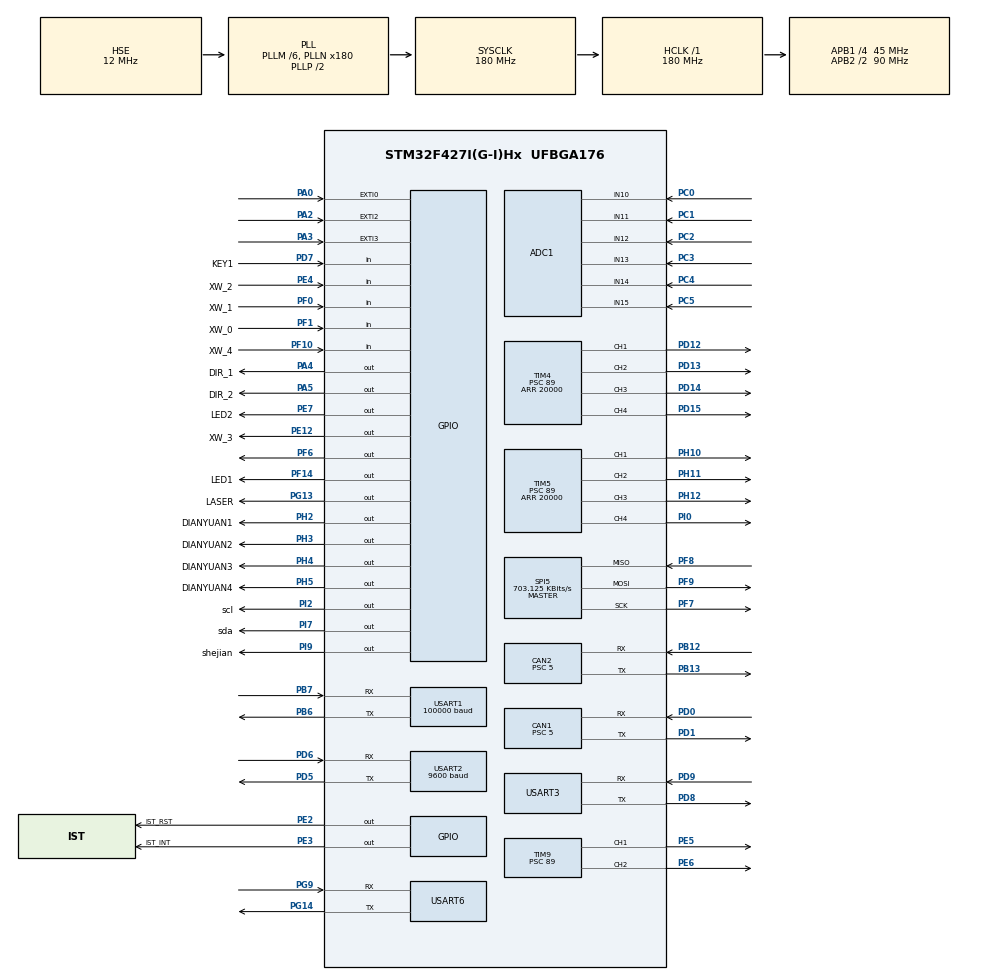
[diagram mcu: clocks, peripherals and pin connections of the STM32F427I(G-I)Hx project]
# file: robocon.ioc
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ADC1.Channel-0\#ChannelRegularConversion=ADC_CHANNEL_12
ADC1.Channel-1\#ChannelRegularConversion=ADC_CHANNEL_13
ADC1.Channel-2\#ChannelRegularConversion=ADC_CHANNEL_14
ADC1.Channel-3\#ChannelRegularConversion=ADC_CHANNEL_15
ADC1.Channel-4\#ChannelRegularConversion=ADC_CHANNEL_10
ADC1.Channel-5\#ChannelRegularConversion=ADC_CHANNEL_11
ADC1.ContinuousConvMode=ENABLE
ADC1.DMAContinuousRequests=ENABLE
ADC1.NbrOfConversion=6
ADC1.NbrOfConversionFlag=1
ADC1.Rank-0\#ChannelRegularConversion=1
ADC1.Rank-1\#ChannelRegularConversion=2
ADC1.Rank-2\#ChannelRegularConversion=3
ADC1.Rank-3\#ChannelRegularConversion=4
ADC1.Rank-4\#ChannelRegularConversion=5
ADC1.Rank-5\#ChannelRegularConversion=6
ADC1.SamplingTime-0\#ChannelRegularConversion=ADC_SAMPLETIME_3CYCLES
ADC1.SamplingTime-1\#ChannelRegularConversion=ADC_SAMPLETIME_3CYCLES
ADC1.SamplingTime-2\#ChannelRegularConversion=ADC_SAMPLETIME_3CYCLES
ADC1.SamplingTime-3\#ChannelRegularConversion=ADC_SAMPLETIME_3CYCLES
ADC1.SamplingTime-4\#ChannelRegularConversion=ADC_SAMPLETIME_3CYCLES
ADC1.SamplingTime-5\#ChannelRegularConversion=ADC_SAMPLETIME_3CYCLES
ADC1.ScanConvMode=ENABLE
ADC1.master=1
CAN1.ABOM=ENABLE
CAN1.BS1=CAN_BS1_3TQ
CAN1.BS2=CAN_BS2_5TQ
CAN1.CalculateBaudRate=1000000
CAN1.CalculateTimeBit=999.99
CAN1.CalculateTimeQuantum=111.11111111111111
CAN1.Prescaler=5
CAN1.SJW=CAN_SJW_1TQ
CAN2.ABOM=ENABLE
CAN2.BS1=CAN_BS1_3TQ
CAN2.BS2=CAN_BS2_5TQ
CAN2.CalculateBaudRate=1000000
CAN2.CalculateTimeBit=999.99
CAN2.CalculateTimeQuantum=111.11111111111111
CAN2.Prescaler=5
CAN2.SJW=CAN_SJW_1TQ
Dma.ADC1.3.Direction=DMA_PERIPH_TO_MEMORY
Dma.ADC1.3.FIFOMode=DMA_FIFOMODE_DISABLE
Dma.ADC1.3.Instance=DMA2_Stream0
Dma.ADC1.3.MemDataAlignment=DMA_MDATAALIGN_WORD
Dma.ADC1.3.MemInc=DMA_MINC_ENABLE
Dma.ADC1.3.Mode=DMA_CIRCULAR
Dma.ADC1.3.PeriphDataAlignment=DMA_PDATAALIGN_WORD
Dma.ADC1.3.PeriphInc=DMA_PINC_DISABLE
Dma.ADC1.3.Priority=DMA_PRIORITY_MEDIUM
Dma.Request0=USART1_RX
Dma.Request1=USART2_RX
Dma.Request2=USART6_RX
Dma.Request3=ADC1
Dma.Request4=USART2_TX
Dma.Request5=USART6_TX
Dma.USART1_RX.0.Direction=DMA_PERIPH_TO_MEMORY
Dma.USART1_RX.0.FIFOMode=DMA_FIFOMODE_DISABLE
Dma.USART1_RX.0.Instance=DMA2_Stream2
Dma.USART1_RX.0.MemDataAlignment=DMA_MDATAALIGN_BYTE
Dma.USART1_RX.0.MemInc=DMA_MINC_ENABLE
Dma.USART1_RX.0.Mode=DMA_CIRCULAR
Dma.USART1_RX.0.PeriphDataAlignment=DMA_PDATAALIGN_BYTE
Dma.USART1_RX.0.PeriphInc=DMA_PINC_DISABLE
Dma.USART1_RX.0.Priority=DMA_PRIORITY_MEDIUM
Dma.USART2_RX.1.Direction=DMA_PERIPH_TO_MEMORY
Dma.USART2_RX.1.FIFOMode=DMA_FIFOMODE_DISABLE
Dma.USART2_RX.1.Instance=DMA1_Stream5
Dma.USART2_RX.1.MemDataAlignment=DMA_MDATAALIGN_BYTE
Dma.USART2_RX.1.MemInc=DMA_MINC_ENABLE
Dma.USART2_RX.1.Mode=DMA_CIRCULAR
Dma.USART2_RX.1.PeriphDataAlignment=DMA_PDATAALIGN_BYTE
Dma.USART2_RX.1.PeriphInc=DMA_PINC_DISABLE
Dma.USART2_RX.1.Priority=DMA_PRIORITY_MEDIUM
Dma.USART2_TX.4.Direction=DMA_MEMORY_TO_PERIPH
Dma.USART2_TX.4.FIFOMode=DMA_FIFOMODE_DISABLE
Dma.USART2_TX.4.Instance=DMA1_Stream6
Dma.USART2_TX.4.MemDataAlignment=DMA_MDATAALIGN_BYTE
Dma.USART2_TX.4.MemInc=DMA_MINC_ENABLE
Dma.USART2_TX.4.Mode=DMA_NORMAL
Dma.USART2_TX.4.PeriphDataAlignment=DMA_PDATAALIGN_BYTE
Dma.USART2_TX.4.PeriphInc=DMA_PINC_DISABLE
Dma.USART2_TX.4.Priority=DMA_PRIORITY_MEDIUM
Dma.USART6_RX.2.Direction=DMA_PERIPH_TO_MEMORY
Dma.USART6_RX.2.FIFOMode=DMA_FIFOMODE_DISABLE
Dma.USART6_RX.2.Instance=DMA2_Stream1
Dma.USART6_RX.2.MemDataAlignment=DMA_MDATAALIGN_BYTE
Dma.USART6_RX.2.MemInc=DMA_MINC_ENABLE
Dma.USART6_RX.2.Mode=DMA_CIRCULAR
Dma.USART6_RX.2.PeriphDataAlignment=DMA_PDATAALIGN_BYTE
Dma.USART6_RX.2.PeriphInc=DMA_PINC_DISABLE
Dma.USART6_RX.2.Priority=DMA_PRIORITY_MEDIUM
Dma.USART6_TX.5.Direction=DMA_MEMORY_TO_PERIPH
Dma.USART6_TX.5.FIFOMode=DMA_FIFOMODE_DISABLE
Dma.USART6_TX.5.Instance=DMA2_Stream6
Dma.USART6_TX.5.MemDataAlignment=DMA_MDATAALIGN_BYTE
Dma.USART6_TX.5.MemInc=DMA_MINC_ENABLE
Dma.USART6_TX.5.Mode=DMA_NORMAL
Dma.USART6_TX.5.PeriphDataAlignment=DMA_PDATAALIGN_BYTE
Dma.USART6_TX.5.PeriphInc=DMA_PINC_DISABLE
Dma.USART6_TX.5.Priority=DMA_PRIORITY_MEDIUM
FREERTOS.Tasks01=defaultTask,0,128,StartDefaultTask,Default,NULL,Dynamic,NULL,NULL;myTask02,0,128,StartTask02,Default,NULL,Dynamic,NULL,NULL;myTask03,0,128,StartTask03,Default,NULL,Dynamic,NULL,NULL;myTask04,0,128,StartTask04,Default,NULL,Dynamic,NULL,NULL
Mcu.Family=STM32F4
Mcu.Name=STM32F427I(G-I)Hx
Mcu.Package=UFBGA176
NVIC.CAN1_RX0_IRQn=true\:5\:0\:false\:false\:true\:true\:true\:true
NVIC.CAN1_TX_IRQn=true\:5\:0\:false\:false\:true\:true\:true\:true
NVIC.CAN2_RX0_IRQn=true\:5\:0\:false\:false\:true\:false\:true\:true
NVIC.CAN2_TX_IRQn=true\:5\:0\:false\:false\:true\:false\:true\:true
NVIC.DMA1_Stream5_IRQn=true\:5\:0\:false\:false\:true\:true\:true\:true
NVIC.DMA1_Stream6_IRQn=true\:5\:0\:false\:false\:true\:true\:false\:true
NVIC.DMA2_Stream0_IRQn=true\:5\:0\:false\:false\:true\:true\:false\:true
NVIC.DMA2_Stream1_IRQn=true\:5\:0\:false\:false\:true\:true\:true\:true
NVIC.DMA2_Stream2_IRQn=true\:5\:0\:false\:false\:true\:true\:true\:true
NVIC.DMA2_Stream6_IRQn=true\:5\:0\:false\:false\:true\:true\:false\:true
NVIC.PriorityGroup=NVIC_PRIORITYGROUP_4
NVIC.TIM6_DAC_IRQn=true\:0\:0\:false\:false\:true\:false\:true\:true
NVIC.TIM7_IRQn=true\:5\:0\:false\:false\:true\:true\:true\:true
NVIC.TimeBase=TIM6_DAC_IRQn
NVIC.TimeBaseIP=TIM6
NVIC.USART1_IRQn=true\:5\:0\:true\:false\:true\:true\:true\:true
NVIC.USART2_IRQn=true\:5\:0\:true\:false\:true\:false\:true\:true
NVIC.USART6_IRQn=true\:5\:0\:true\:false\:true\:true\:true\:true
PA0/WKUP.Signal=GPXTI0
PA13.Mode=Serial_Wire
PA13.Signal=SYS_JTMS-SWDIO
PA14.Mode=Serial_Wire
PA14.Signal=SYS_JTCK-SWCLK
PA2.Signal=GPXTI2
PA3.Signal=GPXTI3
PA4.GPIO_Label=DIR_1
PA4.Signal=GPIO_Output
PA5.GPIO_Label=DIR_2
PA5.Signal=GPIO_Output
PB12.Mode=CAN_Activate
PB12.Signal=CAN2_RX
PB13.Mode=CAN_Activate
PB13.Signal=CAN2_TX
PB6.GPIO_PuPd=GPIO_PULLUP
PB6.Mode=Asynchronous
PB6.Signal=USART1_TX
PB7.GPIO_PuPd=GPIO_PULLUP
PB7.Mode=Asynchronous
PB7.Signal=USART1_RX
PC0.Signal=ADCx_IN10
PC1.Signal=ADCx_IN11
PC2.Signal=ADCx_IN12
PC3.Signal=ADCx_IN13
PC4.Signal=ADCx_IN14
PC5.Signal=ADCx_IN15
PD0.Mode=CAN_Activate
PD0.Signal=CAN1_RX
PD1.Mode=CAN_Activate
PD1.Signal=CAN1_TX
PD12.Signal=S_TIM4_CH1
PD13.Signal=S_TIM4_CH2
PD14.Signal=S_TIM4_CH3
PD15.Signal=S_TIM4_CH4
PD5.Mode=Asynchronous
PD5.Signal=USART2_TX
PD6.Mode=Asynchronous
PD6.Signal=USART2_RX
PD7.GPIO_Label=KEY1
PD7.Signal=GPIO_Input
PD8.Mode=Asynchronous
PD8.Signal=USART3_TX
PD9.Mode=Asynchronous
PD9.Signal=USART3_RX
PE12.GPIO_Label=XW_3
PE12.GPIO_Speed=GPIO_SPEED_FREQ_HIGH
PE12.PinState=GPIO_PIN_SET
PE12.Signal=GPIO_Output
PE2.GPIO_Label=IST_RST
PE2.PinState=GPIO_PIN_SET
PE2.Signal=GPIO_Output
PE3.GPIO_Label=IST_INT
PE3.Signal=GPIO_Output
PE4.GPIO_Label=XW_2
PE4.GPIO_PuPd=GPIO_PULLUP
PE4.Signal=GPIO_Input
PE5.Signal=S_TIM9_CH1
PE6.Signal=S_TIM9_CH2
PE7.GPIO_Label=LED2
PE7.Signal=GPIO_Output
PF0.GPIO_Label=XW_1
PF0.GPIO_PuPd=GPIO_PULLUP
PF0.Signal=GPIO_Input
PF1.GPIO_Label=XW_0
PF1.GPIO_PuPd=GPIO_PULLUP
PF1.Signal=GPIO_Input
PF10.GPIO_Label=XW_4
PF10.GPIO_PuPd=GPIO_PULLUP
PF10.Signal=GPIO_Input
PF14.GPIO_Label=LED1
PF14.Signal=GPIO_Output
PF6.Signal=GPIO_Output
PF7.Mode=Full_Duplex_Master
PF7.Signal=SPI5_SCK
PF8.Mode=Full_Duplex_Master
PF8.Signal=SPI5_MISO
PF9.Mode=Full_Duplex_Master
PF9.Signal=SPI5_MOSI
PG13.GPIO_Label=LASER
PG13.Signal=GPIO_Output
PG14.Mode=Asynchronous
PG14.Signal=USART6_TX
PG9.Mode=Asynchronous
PG9.Signal=USART6_RX
PH0/OSC_IN.Mode=HSE-External-Oscillator
PH0/OSC_IN.Signal=RCC_OSC_IN
PH1/OSC_OUT.Mode=HSE-External-Oscillator
PH1/OSC_OUT.Signal=RCC_OSC_OUT
PH10.Signal=S_TIM5_CH1
PH11.Signal=S_TIM5_CH2
PH12.Signal=S_TIM5_CH3
PH2.GPIO_Label=DIANYUAN1
PH2.Signal=GPIO_Output
PH3.GPIO_Label=DIANYUAN2
PH3.Signal=GPIO_Output
PH4.GPIO_Label=DIANYUAN3
PH4.Signal=GPIO_Output
PH5.GPIO_Label=DIANYUAN4
PH5.Signal=GPIO_Output
PI0.Signal=S_TIM5_CH4
PI2.GPIO_Label=scl
PI2.Signal=GPIO_Output
PI7.GPIO_Label=sda
PI7.Signal=GPIO_Output
PI9.GPIO_Label=shejian
PI9.Signal=GPIO_Output
ProjectManager.HeapSize=0x200
ProjectManager.StackSize=0x400
ProjectManager.TargetToolchain=MDK-ARM V5
RCC.48MHZClocksFreq_Value=90000000
RCC.AHBFreq_Value=180000000
RCC.APB1CLKDivider=RCC_HCLK_DIV4
RCC.APB1Freq_Value=45000000
RCC.APB1TimFreq_Value=90000000
RCC.APB2CLKDivider=RCC_HCLK_DIV2
RCC.APB2Freq_Value=90000000
RCC.APB2TimFreq_Value=180000000
RCC.CortexFreq_Value=180000000
RCC.HCLKFreq_Value=180000000
RCC.HSE_VALUE=12000000
RCC.HSI_VALUE=16000000
RCC.LSE_VALUE=32768
RCC.PLLM=6
RCC.PLLN=180
RCC.PLLSourceVirtual=RCC_PLLSOURCE_HSE
RCC.SYSCLKFreq_VALUE=180000000
RCC.SYSCLKSource=RCC_SYSCLKSOURCE_PLLCLK
RCC.VCOOutputFreq_Value=360000000
SH.ADCx_IN10.0=ADC1_IN10,IN10
SH.ADCx_IN11.0=ADC1_IN11,IN11
SH.ADCx_IN12.0=ADC1_IN12,IN12
SH.ADCx_IN13.0=ADC1_IN13,IN13
SH.ADCx_IN14.0=ADC1_IN14,IN14
SH.ADCx_IN15.0=ADC1_IN15,IN15
SH.S_TIM4_CH1.0=TIM4_CH1,PWM Generation1 CH1
SH.S_TIM4_CH2.0=TIM4_CH2,PWM Generation2 CH2
SH.S_TIM4_CH3.0=TIM4_CH3,PWM Generation3 CH3
SH.S_TIM4_CH4.0=TIM4_CH4,PWM Generation4 CH4
SH.S_TIM5_CH1.0=TIM5_CH1,PWM Generation1 CH1
SH.S_TIM5_CH2.0=TIM5_CH2,PWM Generation2 CH2
SH.S_TIM5_CH3.0=TIM5_CH3,PWM Generation3 CH3
SH.S_TIM5_CH4.0=TIM5_CH4,PWM Generation4 CH4
SH.S_TIM9_CH1.0=TIM9_CH1,PWM Generation1 CH1
SH.S_TIM9_CH2.0=TIM9_CH2,PWM Generation2 CH2
SPI5.BaudRatePrescaler=SPI_BAUDRATEPRESCALER_128
SPI5.CalculateBaudRate=703.125 KBits/s
SPI5.Direction=SPI_DIRECTION_2LINES
SPI5.Mode=SPI_MODE_MASTER
SPI5.VirtualType=VM_MASTER
TIM4.Channel-PWM\ Generation1\ CH1=TIM_CHANNEL_1
TIM4.Channel-PWM\ Generation2\ CH2=TIM_CHANNEL_2
TIM4.Channel-PWM\ Generation3\ CH3=TIM_CHANNEL_3
TIM4.Channel-PWM\ Generation4\ CH4=TIM_CHANNEL_4
TIM4.Period=20000
TIM4.Prescaler=89
TIM5.Channel-PWM\ Generation1\ CH1=TIM_CHANNEL_1
TIM5.Channel-PWM\ Generation2\ CH2=TIM_CHANNEL_2
TIM5.Channel-PWM\ Generation3\ CH3=TIM_CHANNEL_3
TIM5.Channel-PWM\ Generation4\ CH4=TIM_CHANNEL_4
TIM5.Period=20000
TIM5.Prescaler=89
TIM7.Period=5000
TIM7.Prescaler=89
TIM9.Channel-PWM\ Generation1\ CH1=TIM_CHANNEL_1
TIM9.Channel-PWM\ Generation2\ CH2=TIM_CHANNEL_2
TIM9.Period=20000
TIM9.Prescaler=89
USART1.BaudRate=100000
USART1.Parity=PARITY_EVEN
USART1.VirtualMode=VM_ASYNC
USART2.BaudRate=9600
USART2.VirtualMode=VM_ASYNC
USART3.VirtualMode=VM_ASYNC
USART6.VirtualMode=VM_ASYNC
VP_FREERTOS_VS_CMSIS_V1.Mode=CMSIS_V1
VP_SYS_VS_tim6.Mode=TIM6
VP_TIM7_VS_ClockSourceINT.Mode=Enable_Timer
board=demo

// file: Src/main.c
/* USER CODE BEGIN Header */
/**
  ******************************************************************************
  * @file           : main.c
  * @brief          : Main program body
  ******************************************************************************
  * @attention
  *
  * <h2><center>&copy; Copyright (c) 2021 STMicroelectronics.
  * All rights reserved.</center></h2>
  *
  * This software component is licensed by ST under Ultimate Liberty license
  * SLA0044, the "License"; You may not use this file except in compliance with
  * the License. You may obtain a copy of the License at:
  *                             www.st.com/SLA0044
  *
  ******************************************************************************
  */
/* USER CODE END Header */
#include "main.h"
#include "cmsis_os.h"
#include "adc.h"
#include "can.h"
#include "dma.h"
#include "spi.h"
#include "tim.h"
#include "usart.h"
#include "gpio.h"

/* USER CODE BEGIN Includes */
#include "stm32f4xx_hal.h"
#include "bsp_imu.h"
#include "stdio.h"
#include "bsp_uart.h"
#include "moter.h"
#include "control.h"
#include "bsp_can.h"
extern speed_wheel baohu[4];
#define BUFFER_SIZE 100
volatile uint8_t rx_len = 0, rx_len2 = 0, rx_len3 = 0;                      //接收一帧数据的长度
volatile uint8_t recv_end_flag = 0, recv_end_flag2 = 0, recv_end_flag3 = 0,recv_cmd_flag2=0; //一帧数据接收完成标志
uint8_t rx_buffer[100] = {0}, rx_buffer2[100] = {0}, rx_buffer3[100] = {0}; //接收数据缓存数组
extern DMA_HandleTypeDef hdma_usart6_rx;
extern rc_info_t rc;
extern float orignal_yaw, yaw;

#define circle   0.329867f
#define Reduction  103765.3f   //减速比
/* USER CODE END Includes */

/* USER CODE BEGIN PV */
/* Private variables ---------------------------------------------------------*/

/* USER CODE END PV */

void SystemClock_Config(void);
void MX_FREERTOS_Init(void);
/* USER CODE BEGIN PFP */
/* Private function prototypes -----------------------------------------------*/

/* USER CODE END PFP */

/* USER CODE BEGIN 0 */
void HAL_UART_RxCpltCallback(UART_HandleTypeDef *huart)
{
  /* Prevent unused argument(s) compilation warning */
  UNUSED(huart);
  /* NOTE: This function should not be modified, when the callback is needed,
             the HAL_UART_RxCpltCallback could be implemented in the user file
     */
}
/* USER CODE END 0 */

int main(void)
{

  /* MCU Configuration--------------------------------------------------------*/

  /* Reset of all peripherals, Initializes the Flash interface and the Systick. */
  HAL_Init();

  /* Configure the system clock */
  SystemClock_Config();

  /* Initialize all configured peripherals */
  MX_GPIO_Init();
  MX_DMA_Init();
  MX_CAN1_Init();
  MX_CAN2_Init();
  MX_SPI5_Init();
  MX_USART1_UART_Init();
  MX_USART2_UART_Init();
  MX_USART6_UART_Init();
  MX_ADC1_Init();
  MX_TIM7_Init();
  MX_USART3_UART_Init();
  MX_TIM9_Init();
  MX_TIM4_Init();
  MX_TIM5_Init();
  /* USER CODE BEGIN 2 */
  HAL_TIM_PWM_Start(&htim9, TIM_CHANNEL_1);
  HAL_TIM_PWM_Start(&htim9, TIM_CHANNEL_2);
	HAL_TIM_PWM_Start(&htim4, TIM_CHANNEL_1);
	HAL_TIM_PWM_Start(&htim4, TIM_CHANNEL_2);
	HAL_TIM_PWM_Start(&htim4, TIM_CHANNEL_3);
	HAL_TIM_PWM_Start(&htim4, TIM_CHANNEL_4);
  dbus_uart_init(); //dbus
  mpu_device_init();
	init_quaternion();

  ////    HAL_Delay(2000);
  /* USER CODE END 2 */

  /* Call init function for freertos objects (in freertos.c) */
  MX_FREERTOS_Init();
  /* Start scheduler */
  osKernelStart();

  /* We should never get here as control is now taken by the scheduler */
  /* Infinite loop */
  while (1)
  {

  }
}

void SystemClock_Config(void)
{
  RCC_OscInitTypeDef RCC_OscInitStruct = {0};
  RCC_ClkInitTypeDef RCC_ClkInitStruct = {0};

  /** Configure the main internal regulator output voltage
  */
  __HAL_RCC_PWR_CLK_ENABLE();
  __HAL_PWR_VOLTAGESCALING_CONFIG(PWR_REGULATOR_VOLTAGE_SCALE1);
  /** Initializes the RCC Oscillators according to the specified parameters
  * in the RCC_OscInitTypeDef structure.
  */
  RCC_OscInitStruct.OscillatorType = RCC_OSCILLATORTYPE_HSE;
  RCC_OscInitStruct.HSEState = RCC_HSE_ON;
  RCC_OscInitStruct.PLL.PLLState = RCC_PLL_ON;
  RCC_OscInitStruct.PLL.PLLSource = RCC_PLLSOURCE_HSE;
  RCC_OscInitStruct.PLL.PLLM = 6;
  RCC_OscInitStruct.PLL.PLLN = 180;
  RCC_OscInitStruct.PLL.PLLP = RCC_PLLP_DIV2;
  RCC_OscInitStruct.PLL.PLLQ = 4;
  if (HAL_RCC_OscConfig(&RCC_OscInitStruct) != HAL_OK)
  {
    Error_Handler();
  }
  /** Activate the Over-Drive mode
  */
  if (HAL_PWREx_EnableOverDrive() != HAL_OK)
  {
    Error_Handler();
  }
  /** Initializes the CPU, AHB and APB buses clocks
  */
  RCC_ClkInitStruct.ClockType = RCC_CLOCKTYPE_HCLK|RCC_CLOCKTYPE_SYSCLK
                              |RCC_CLOCKTYPE_PCLK1|RCC_CLOCKTYPE_PCLK2;
  RCC_ClkInitStruct.SYSCLKSource = RCC_SYSCLKSOURCE_PLLCLK;
  RCC_ClkInitStruct.AHBCLKDivider = RCC_SYSCLK_DIV1;
  RCC_ClkInitStruct.APB1CLKDivider = RCC_HCLK_DIV4;
  RCC_ClkInitStruct.APB2CLKDivider = RCC_HCLK_DIV2;

  if (HAL_RCC_ClockConfig(&RCC_ClkInitStruct, FLASH_LATENCY_5) != HAL_OK)
  {
    Error_Handler();
  }
}

 /**
  * @brief  Period elapsed callback in non blocking mode
  * @note   This function is called  when TIM6 interrupt took place, inside
  * HAL_TIM_IRQHandler(). It makes a direct call to HAL_IncTick() to increment
  * a global variable "uwTick" used as application time base.
  * @param  htim : TIM handle
  * @retval None
  */
void HAL_TIM_PeriodElapsedCallback(TIM_HandleTypeDef *htim)
{
  /* USER CODE BEGIN Callback 0 */
  if (htim->Instance == TIM7)
  {
//		set_c620moter(150,150,150,150);
//    set_c620moter(c620_moter.distance[0], c620_moter.distance[1], c620_moter.distance[2], c620_moter.distance[3]); //其余电机的位置控制
    if (rc.ch5 == 3) //模式3 遥控模式 这个if是用于底盘控制的大类的
    {

//      Calculate(rc.ch4 / 250.0f, rc.ch3 / 250.0f, -rc.ch1/660.0f);
			//pid_calc(&c610[0].pid_shudu, c2006_chassis[0].speed_rpm, rc.ch2*35.0f);
      Calculate(rc.ch1 / 250.0f, rc.ch2 / 250.0f, -rc.ch3/660.0f);
			setMotor(kinematics.exp_vel[0].speed, kinematics.exp_vel[1].speed , kinematics.exp_vel[2].speed , kinematics.exp_vel[3].speed );
      setMotor_dir(kinematics.exp_vel[0].jiado, kinematics.exp_vel[1].jiado, kinematics.exp_vel[2].jiado, kinematics.exp_vel[3].jiado);
    }
    else if (rc.ch5 == 1) //模式一 保险模式
    {
      set_moto_current(&hcan1, 0,0,0,0);
			set_moto2_current(&hcan1, 0,0,0,0);
			set_moto_current(&hcan2, 0,0,0,0);
			set_moto2_current(&hcan2, 0,0,0,0);
    }
    if (rc.ch5 == 1) //模式一 保险模式 这个if else 用于上层炮台控制
    {
      set_moto_current(&hcan1, 0,0,0,0);
			set_moto2_current(&hcan1, 0,0,0,0);
			set_moto_current(&hcan2, 0,0,0,0);
			set_moto2_current(&hcan2, 0,0,0,0);
    }
		else if(rc.ch12 == 1)
		{
			setSingleMotor2(M1, -rc.ch15*10.0f);  //上层炮台摩擦轮转速
			setSingleMotor2(M2, rc.ch15*10.0f);  //上层炮台摩擦轮转速
			setSingleMotor2_juli(M3, rc.ch14*50.0f); //设置上下的旋转
			setSingleMotor2_juli(M4,rc.ch13*100.0f); //设置左右的旋转
			set_moto_current(&hcan2, c610[0].pid_shudu.pos_out, c610[1].pid_shudu.pos_out,
					 c610[2].pid_shudu.pos_out, baohu[3].pid_shudu.pos_out);
		}
		else if(rc.ch12 == 3)
		{
			setSingleMotor2(M1, 0);
			setSingleMotor2(M2, 0);  //S_speed[0].pid_shudu.pos_out, S_speed[1].pid_shudu.pos_out,
			setSingleMotor2_juli(M3, rc.ch14*50.0f); //设置单个速度环距离走多少
			setSingleMotor2_juli(M4,rc.ch13*100.0f); //设置单个速度环距离走多少
			set_moto_current(&hcan2, c610[0].pid_shudu.pos_out, c610[1].pid_shudu.pos_out,
					 c610[2].pid_shudu.pos_out, baohu[3].pid_shudu.pos_out);
		}
  }

  /* USER CODE END Callback 0 */
  if (htim->Instance == TIM6) {
    HAL_IncTick();
  }
}

void Error_Handler(void)
{
  __disable_irq();
  while (1)
  {
  }
}

/************************ (C) COPYRIGHT STMicroelectronics *****END OF FILE****/

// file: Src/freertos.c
/* USER CODE BEGIN Header */
/**
  ******************************************************************************
  * File Name          : freertos.c
  * Description        : Code for freertos applications
  ******************************************************************************
  * @attention
  *
  * <h2><center>&copy; Copyright (c) 2021 STMicroelectronics.
  * All rights reserved.</center></h2>
  *
  * This software component is licensed by ST under Ultimate Liberty license
  * SLA0044, the "License"; You may not use this file except in compliance with
  * the License. You may obtain a copy of the License at:
  *                             www.st.com/SLA0044
  *
  ******************************************************************************
  */
/* USER CODE END Header */

#include "FreeRTOS.h"
#include "task.h"
#include "main.h"
#include "cmsis_os.h"

/* USER CODE BEGIN Includes */
#include "pid.h"
#include "bsp_can.h"
#include "mytype.h"
#include "tim.h"
#include "stdio.h"
#include "moter.h"
#include "main.h"
#include "taks.h"
#include "pca.h"
/* USER CODE END Includes */

/* USER CODE BEGIN PTD */
#include "bsp_imu.h"
#include "bsp_uart.h"
#include "control.h"
#include "iic.h"
#include "pca.h"
char buf[300];
extern UART_HandleTypeDef huart6;
extern ADC_HandleTypeDef hadc1;
extern rc_info_t rc;
uint32_t ADC_Value[120];
uint32_t ad1, ad2, ad3, ad4, ad5, ad6;
float tuolun_angle[6] = {0}, pre_angle[6] = {0};
#define fab(x) x > 0 ? x : -x
u8 dir = 1;
float orignal_yaw = 0.0f;
#define COUNTOF(__BUFFER__) (sizeof(__BUFFER__) / sizeof(*(__BUFFER__)))
extern float yaw;
extern volatile uint8_t rx_len, rx_len2, rx_len3;                      //接收一帧数据的长度
extern volatile uint8_t recv_end_flag, recv_end_flag2, recv_end_flag3,recv_cmd_flag2; //一帧数据接收完成标志
extern uint8_t rx_buffer[100], rx_buffer2[100], rx_buffer3[100];       //接收数据缓存数组
int big_flag=0;

extern uint8_t   dbus_buf[DBUS_BUFLEN];
/* USER CODE END PTD */

osThreadId defaultTaskHandle;
osThreadId myTask02Handle;
osThreadId myTask03Handle;
osThreadId myTask04Handle;

/* USER CODE BEGIN FunctionPrototypes */
void set_total_angle(moto_measure_t *p, moto_measure_t *p1, int angle, u8 dir, u16 speed); //
void weizhihuan(moto_measure_t *p, float angle);
void weizhihuan_duolun(moto_measure_t *p, float mesure, float angle);
extern TIM_HandleTypeDef htim7;
float oringal_yaw = 0.0f;
float exp_jiaou=260.2f;
extern rc_info_t rc;
speed_wheel baohu[4];
/* USER CODE END FunctionPrototypes */

void StartDefaultTask(void const * argument);
void StartTask02(void const * argument);
void StartTask03(void const * argument);
void StartTask04(void const * argument);

void MX_FREERTOS_Init(void); /* (MISRA C 2004 rule 8.1) */

/* GetIdleTaskMemory prototype (linked to static allocation support) */
void vApplicationGetIdleTaskMemory( StaticTask_t **ppxIdleTaskTCBBuffer, StackType_t **ppxIdleTaskStackBuffer, uint32_t *pulIdleTaskStackSize );

/* USER CODE BEGIN GET_IDLE_TASK_MEMORY */
static StaticTask_t xIdleTaskTCBBuffer;
static StackType_t xIdleStack[configMINIMAL_STACK_SIZE];

void vApplicationGetIdleTaskMemory(StaticTask_t **ppxIdleTaskTCBBuffer, StackType_t **ppxIdleTaskStackBuffer, uint32_t *pulIdleTaskStackSize)
{
  *ppxIdleTaskTCBBuffer = &xIdleTaskTCBBuffer;
  *ppxIdleTaskStackBuffer = &xIdleStack[0];
  *pulIdleTaskStackSize = configMINIMAL_STACK_SIZE;
  /* place for user code */
}
/* USER CODE END GET_IDLE_TASK_MEMORY */

void MX_FREERTOS_Init(void) {

  /* Create the thread(s) */
  /* definition and creation of defaultTask */
  osThreadDef(defaultTask, StartDefaultTask, osPriorityNormal, 0, 128);
  defaultTaskHandle = osThreadCreate(osThread(defaultTask), NULL);

  /* definition and creation of myTask02 */
  osThreadDef(myTask02, StartTask02, osPriorityNormal, 0, 128);
  myTask02Handle = osThreadCreate(osThread(myTask02), NULL);

  /* definition and creation of myTask03 */
  osThreadDef(myTask03, StartTask03, osPriorityNormal, 0, 128);
  myTask03Handle = osThreadCreate(osThread(myTask03), NULL);

  /* definition and creation of myTask04 */
  osThreadDef(myTask04, StartTask04, osPriorityNormal, 0, 128);
  myTask04Handle = osThreadCreate(osThread(myTask04), NULL);

}

void StartDefaultTask(void const * argument)
{
  /* USER CODE BEGIN StartDefaultTask */
  my_can_filter_init_recv_all(&hcan1);
  can_filter_recv_special(&hcan2);
  HAL_CAN_ActivateNotification(&hcan1, CAN_IT_RX_FIFO0_MSG_PENDING); // Enable interrupts
  HAL_CAN_ActivateNotification(&hcan2, CAN_IT_RX_FIFO0_MSG_PENDING); // Enable interrupts
  duo_lun_speed_init();
  duo_lun_Dir_init();
  Kinematics_Init();

  C610_init();
  //set_exp(60, 60);
  __HAL_UART_ENABLE_IT(&huart6, UART_IT_IDLE);
  HAL_UART_Receive_DMA(&huart6, rx_buffer, 100);
  __HAL_UART_ENABLE_IT(&huart2, UART_IT_IDLE);
  HAL_UART_Receive_DMA(&huart2, rx_buffer2, 100);

	for(int i=0;i<4;i++)
	{
	 PID_struct_init(&baohu[i].pid_weizhi, POSITION_PID, 20000, 2000,
                    0.42f, 0.001f, 0.3f);
	 PID_struct_init(&baohu[i].pid_shudu, DELTA_PID, 10000, 2000,
                    8.50f, 1.5f, 0.52f);
	}
	PID_struct_init(&c610[0].pid_weizhi,POSITION_PID, 20000, 2000,
						  0.32f, 0.01f,4.6);
	PID_struct_init(&c610[0].pid_shudu,POSITION_PID, 10000, 2000,
						  3.50f, 0.000f, 0.52f);
  PID_struct_init(&yaw_pos, DELTA_PID, 3500, 500, 1272.6f, 12.5f, 0.3f);           //转向环
  PID_struct_init(&PID_Position_X, POSITION_PID, 5000, 1000, 52.6f, 0.01f, 28.0f); //x方向
  PID_struct_init(&PID_Position_Y, POSITION_PID, 5000, 1000, 52.6f, 0.01f, 28.0f); //y方向
//  send_com(&huart2, 0x38);//imu_init
//  osDelay(6000);
  orignal_yaw = yaw=0;
  for (int i = 0; i < 8; i++)
    moto_chassis[i].total_angle = 0; //清零

  HAL_TIM_Base_Start_IT(&htim7);

//	 __HAL_TIM_SetCompare(&htim4, TIM_CHANNEL_3, 1500);
//	 __HAL_TIM_SetCompare(&htim4, TIM_CHANNEL_3, 1000);
//	 osDelay(1000);
//	 __HAL_TIM_SetCompare(&htim4, TIM_CHANNEL_3, 1500);
//	 osDelay(1000);
//	 __HAL_TIM_SetCompare(&htim4, TIM_CHANNEL_3, 2000);
//	 osDelay(1000);
//	  __HAL_TIM_SetCompare(&htim4, TIM_CHANNEL_3, 1000);
//		osDelay(1000);
//	 set_high(215);
//	 osDelay(1500);
//  init_guiwei(); //初始化机械臂 归为
//    for(int i=0;i<4;i++)
//		{
//			kinematics.exp_vel[i].jiado=45;
//		}
		//

  for (;;)
  {
//		setMotor(3000,3000,3000,0);
		//printf("%f %f\r\n",yaw,orignal_yaw);
	//	printf("%f\r\n",yaw);
		//printf("%d\r\n",moto_chassis[6].total_angle);
//		saft();
//		printf("AD1_value=%1.3f AD2_value=%1.3f AD3_value=%1.3f AD4_value=%1.3f\r\n ", tuolun_angle[0], tuolun_angle[1],tuolun_angle[2],tuolun_angle[3]);
//		pca_setpwm(0,0,130);

		//printf("%f %f\r\n",jiguag_data1[0],jiguag_data1[1]);
	//	__HAL_TIM_SetCompare(&htim4, TIM_CHANNEL_3, 1500);
		//printf("yaw:%f\r\n",yaw);
//			__HAL_TIM_SetCompare(&htim4, TIM_CHANNEL_1, 1200);
//		qujian();
//	if(big_flag)//串口屏的操作
//	{
////		printf("fhud");
//		set_high(cmd_data[0].shuju/10.0f);
//		c620_moter.distance[0] = cmd_data[1].shuju*1.2*819.2f;//pian yi jiaodu
//		Archery_action(cmd_data[2].shuju/10.0f);
//	}
//		printf("%d %d %d\r\n",rc.ch4,rc.ch3,rc.ch2);
    //        Calculate(rc.ch4 / 250.0f, rc.ch3 / 400.0f, rc.ch2 / 600.0f, -999);
    //				 printf("AD1_value=%1.3f AD2_value=%1.3f AD3_value=%1.3f AD5_value=%1.3f\r\n ", tuolun_angle[0], tuolun_angle[1],tuolun_angle[2],tuolun_angle[4]);
//		printf(" %d %d %d %d %d %d %d %d %d %d %d %d %d %d %d %d\r\n",rc.ch1,rc.ch2,rc.ch3,rc.ch4,rc.ch5,rc.ch6,rc.ch7,rc.ch8,rc.ch9,rc.ch10,rc.ch11,rc.ch12,rc.ch13,rc.ch14,rc.ch15,rc.ch16);
//  printf("%s\r\n",dbus_buf);
//				printf("test\r\n");
    osDelay(1);
  }
  /* USER CODE END StartDefaultTask */
}

void StartTask02(void const * argument)
{
  /* USER CODE BEGIN StartTask02 */
  u8 i;

  float yingzi = 0.1;
  HAL_ADC_Start_DMA(&hadc1, (uint32_t *)&ADC_Value, 120);
  /* Infinite loop */
  for (;;)
  {
    for (i = 0, ad1 = ad2 = ad3 = ad4 = ad5 = ad6 = 0; i < 120;)
    {
      ad1 += ADC_Value[i++];
      ad2 += ADC_Value[i++];
      ad3 += ADC_Value[i++];
      ad4 += ADC_Value[i++];
      ad5 += ADC_Value[i++];
      ad6 += ADC_Value[i++];
    }
    ad1 /= 20;
    ad2 /= 20;
    ad3 /= 20;
    ad4 /= 20;
    ad5 /= 20;
    ad6 /= 20;
    pre_angle[0] = 360 * (ad1 / 4096.0f) ; //(ad1 * 3.3f * 110.0917f) / (4096 * (3.26 / 3.3));//(ad1 * 3.3f * 110.0917f) / (4096 * (3.26 / 3.3))
    pre_angle[1] = 360 * (ad2 / 4096.0f) ;
    pre_angle[2] = 360 * (ad3 / 4096.0f) ;
    pre_angle[3] = 360 * (ad4 / 4096.0f) ;
    pre_angle[4] = 360 * (ad5 / 4096.0f);
    pre_angle[5] = 360 * (ad6 / 4096.0f);
    tuolun_angle[0] = yingzi * tuolun_angle[0] + (1 - yingzi) * pre_angle[0]; //低通滤波
    tuolun_angle[1] = yingzi * tuolun_angle[1] + (1 - yingzi) * pre_angle[1];
    tuolun_angle[2] = yingzi * tuolun_angle[2] + (1 - yingzi) * pre_angle[2];
    tuolun_angle[3] = yingzi * tuolun_angle[3] + (1 - yingzi) * pre_angle[3];
    tuolun_angle[4] = yingzi * tuolun_angle[4] + (1 - yingzi) * pre_angle[4];
    tuolun_angle[5] = yingzi * tuolun_angle[5] + (1 - yingzi) * pre_angle[5];

    osDelay(5);
  }
  /* USER CODE END StartTask02 */
}

/* USER CODE BEGIN Header_StartTask03 */
/*
* @brief Function implementing the myTask03 thread.
* @param argument: Not used
* @retval None
*/
/* USER CODE END Header_StartTask03 */
void StartTask03(void const * argument)
{
  /* USER CODE BEGIN StartTask03 */
  /* Infinite loop */
  osDelay(5000);
  for (;;)
  {
	 mpu_get_data();
	 imu_ahrs_update();
	 imu_attitude_update();
    if (recv_end_flag == 1) //接收完成标志
    {
      HAL_UART_Transmit_DMA(&huart6, rx_buffer, rx_len);
      rx_len = 0;        //清除计数
      recv_end_flag = 0; //清除接收结束标志位
      memset(rx_buffer, 0, rx_len);
      HAL_UART_Receive_DMA(&huart6, rx_buffer, 100); //重新打开DMA接收z
    }
    if (recv_end_flag2 == 1) //接收完成标志
    {
//       HAL_UART_Transmit_DMA(&huart2, rx_buffer2, rx_len2);
      rx_len2 = 0;        //清除计数
      recv_end_flag2 = 0; //清除接收结束标志位
      HAL_UART_Receive_DMA(&huart2, rx_buffer2, 100); //重新打开DMA接收z
    }
		  int fenduan;
			if(rc.ch2<20) fenduan=1510;
			else if(rc.ch2<100) fenduan=1520;
			else if(rc.ch2<200) fenduan=1540;
			else if(rc.ch2<300) fenduan=1560;
			else if(rc.ch2<400) fenduan=1680;
			else if(rc.ch2<500) fenduan=1600;
			else if(rc.ch2<600) fenduan=1650;
			else  fenduan=1700;
			__HAL_TIM_SetCompare(&htim4, TIM_CHANNEL_4,fenduan);
			osDelay(200);
//		if (recv_cmd_flag2 == 1) //接收完成标志
//    {
//      // HAL_UART_Transmit_DMA(&huart2, rx_buffer2, rx_len2);
//      // rx_len2 = 0;        //清除计数
//      recv_cmd_flag2 = 0; //清除接收结束标志位
//      // memset(rx_buffer2, 0, rx_len2);
//			for(int i=0;i<3;i++)
//			{
//				printf("%f  ",cmd_data[i].shuju/10.0f);
//			}
//			printf("\r\n");
//			big_flag=1;
////			Archery_action(cmd_data[2].shuju/10.0f);
//      HAL_UART_Receive_DMA(&huart2, rx_buffer2, 100); //重新打开DMA接收z
//    }
    //        printf("AD1_value=%1.3f AD2_value=%1.3f AD3_value=%1.3f AD5_value=%1.3f\r\n ", tuolun_angle[0], tuolun_angle[1],tuolun_angle[2],tuolun_angle[4]);
    osDelay(5);
  }
  /* USER CODE END StartTask03 */
}

void StartTask04(void const * argument)
{
  /* USER CODE BEGIN StartTask04 */
  /* Infinite loop */
	 osDelay(5000);
  for (;;)
  {
//		printf(" %d %d %d %d\r\n",rc.ch1,rc.ch2,rc.ch3,rc.ch4);
//		printf("test\r\n");
		//Ctrl_Task(10);
//	if(rc.sw2 == 1)
//	{
//		HAL_GPIO_WritePin(GPIOH, DIANYUAN2_Pin, GPIO_PIN_SET);
//		osDelay(2000);
//		HAL_GPIO_WritePin(GPIOH, DIANYUAN2_Pin, GPIO_PIN_RESET);
//		HAL_GPIO_WritePin(GPIOH, DIANYUAN4_Pin, GPIO_PIN_SET);
//		osDelay(90);
//		HAL_GPIO_WritePin(GPIOH, DIANYUAN4_Pin, GPIO_PIN_RESET);
//	}
	 osDelay(1000);

//		Ctrl_Task(20);
//		osDelay(20);
	//set_point(jiguag_data1[0],jiguag_data1[1]);
////    if (rc.sw1 == 1)
////		{
////			 osDelay(5);-
////		}
//
////      set_point(data1, data2);
////		  read_data();
////   	printf("  ceiju=%1.3f\r\n ",jiguag_data1[3]);
////   		printf("%f  %f   %f\r\n",data1,data2,kinematics.exp_vel[0].speed);

//

  }
  /* USER CODE END StartTask04 */
}

/************************ (C) COPYRIGHT STMicroelectronics *****END OF FILE****/
